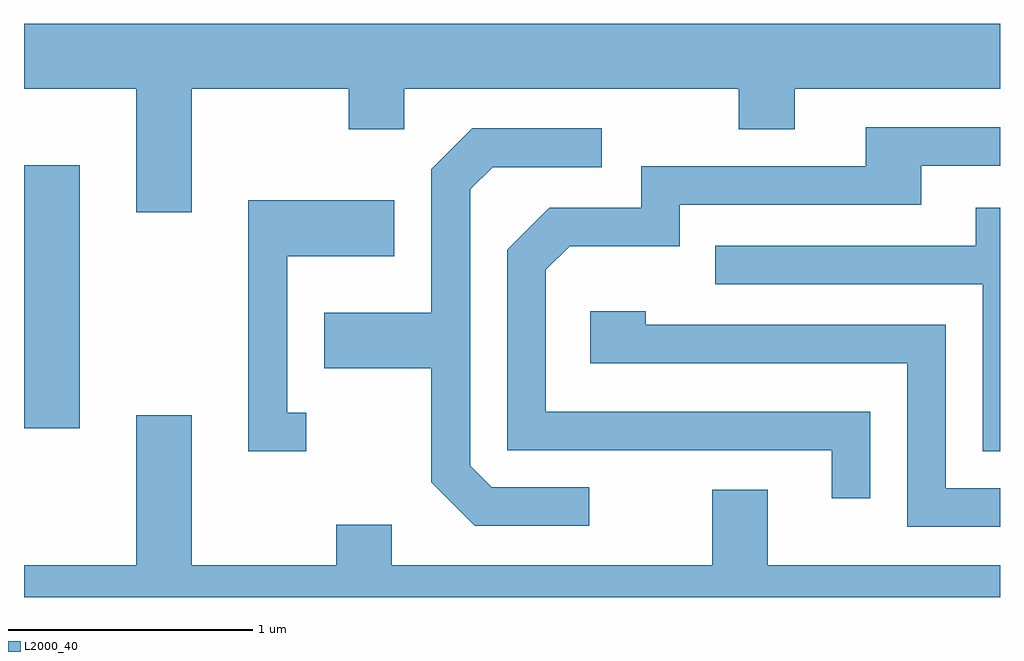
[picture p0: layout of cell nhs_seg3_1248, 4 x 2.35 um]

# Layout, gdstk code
import gdstk
lib = gdstk.Library(unit=1e-6, precision=1e-09)
def R(c, l, rs):  # rectangles x0, y0, x1, y1
    for r in rs: c.add(gdstk.rectangle(r[:2], r[2:], *l))
def P(c, l, *ps):  # polygons
    for p in ps: c.add(gdstk.Polygon(p, *l))
L2000_40 = (2000, 40)

nhs_seg3_1248 = lib.new_cell('nhs_seg3_1248')
R(nhs_seg3_1248, L2000_40, [(221.611,1164.586,221.839,1165.664)])
P(nhs_seg3_1248, L2000_40, [(222.299,1165.976),(222.941,1165.976),(222.941,1165.811),(223.169,1165.811),(223.169,1165.976),(224.541,1165.976),(224.541,1165.811),(224.769,1165.811),(224.769,1165.976),(225.611,1165.976),(225.611,1166.244),(221.611,1166.244),(221.611,1165.976),(222.071,1165.976),(222.071,1165.471),(222.299,1165.471)],
  [(225.079,1164.654),(223.749,1164.654),(223.749,1165.234),(223.847,1165.331),(224.299,1165.331),(224.299,1165.501),(225.289,1165.501),(225.289,1165.661),(225.611,1165.661),(225.611,1165.819),(225.061,1165.819),(225.061,1165.659),(224.141,1165.659),(224.141,1165.489),(223.764,1165.489),(223.591,1165.317),(223.591,1164.496),(224.921,1164.496),(224.921,1164.298),(225.079,1164.298)],
  [(223.928,1164.344),(223.527,1164.344),(223.439,1164.432),(223.439,1165.564),(223.532,1165.656),(223.978,1165.656),(223.978,1165.814),(223.449,1165.814),(223.281,1165.647),(223.281,1165.059),(222.841,1165.059),(222.841,1164.831),(223.281,1164.831),(223.281,1164.364),(223.459,1164.186),(223.928,1164.186)],
  [(222.768,1164.649),(222.689,1164.649),(222.689,1165.291),(223.129,1165.291),(223.129,1165.519),(222.531,1165.519),(222.531,1164.491),(222.768,1164.491)],
  [(225.611,1165.489),(225.511,1165.489),(225.511,1165.334),(224.443,1165.334),(224.443,1165.176),(225.541,1165.176),(225.541,1164.491),(225.611,1164.491)],
  [(225.611,1164.339),(225.389,1164.339),(225.389,1165.009),(224.159,1165.009),(224.159,1165.064),(223.931,1165.064),(223.931,1164.851),(225.231,1164.851),(225.231,1164.181),(225.611,1164.181)],
  [(225.611,1164.024),(224.659,1164.024),(224.659,1164.334),(224.431,1164.334),(224.431,1164.024),(223.119,1164.024),(223.119,1164.189),(222.891,1164.189),(222.891,1164.024),(222.299,1164.024),(222.299,1164.639),(222.071,1164.639),(222.071,1164.024),(221.611,1164.024),(221.611,1163.892),(225.611,1163.892)])

lib.write_gds('nhs_seg3_1248.gds')
